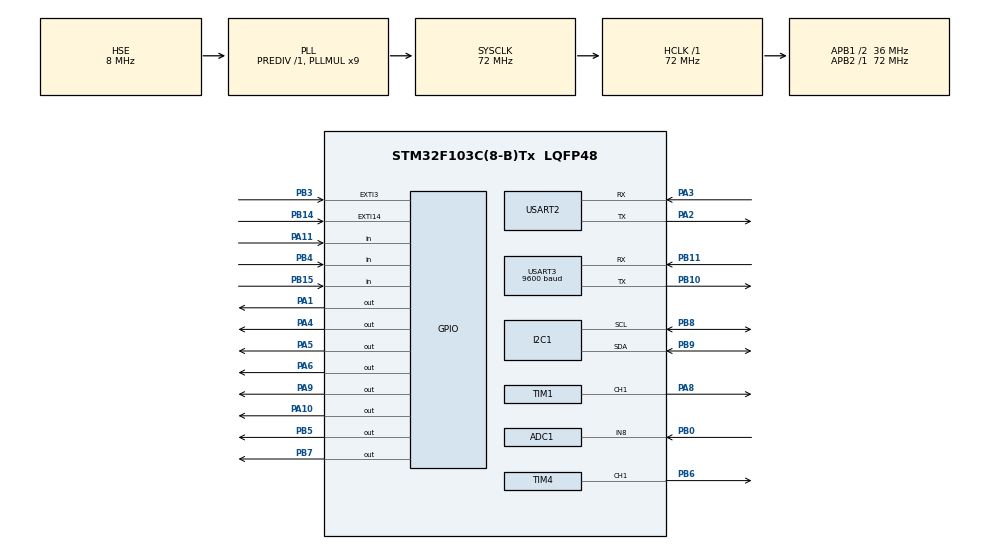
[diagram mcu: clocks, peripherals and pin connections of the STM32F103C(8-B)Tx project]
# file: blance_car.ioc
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ADC1.Channel-1\#ChannelInjectedConversion=ADC_CHANNEL_8
ADC1.EnableInjectedConversion=ENABLE
ADC1.EnableRegularConversion=DISABLE
ADC1.ExternalTrigInjecConv=ADC_EXTERNALTRIGINJECCONV_T2_TRGO
ADC1.InjNumberOfConversion=1
ADC1.InjectedConvMode=None
ADC1.InjectedOffset-1\#ChannelInjectedConversion=0
ADC1.InjectedRank-1\#ChannelInjectedConversion=1
ADC1.SamplingTime-1\#ChannelInjectedConversion=ADC_SAMPLETIME_7CYCLES_5
ADC1.master=1
I2C1.I2C_Mode=I2C_Fast
Mcu.Family=STM32F1
Mcu.Name=STM32F103C(8-B)Tx
Mcu.Package=LQFP48
NVIC.ADC1_2_IRQn=true\:2\:0\:true\:false\:true\:true\:true\:true
NVIC.EXTI15_10_IRQn=true\:0\:0\:true\:false\:true\:true\:true\:true
NVIC.EXTI3_IRQn=true\:0\:0\:true\:false\:true\:true\:true\:true
NVIC.PriorityGroup=NVIC_PRIORITYGROUP_4
NVIC.USART3_IRQn=true\:0\:0\:false\:false\:true\:true\:true\:true
PA1.Signal=GPIO_Output
PA10.Signal=GPIO_Output
PA11.GPIO_PuPd=GPIO_PULLUP
PA11.Signal=GPIO_Input
PA13.Mode=Serial_Wire
PA13.Signal=SYS_JTMS-SWDIO
PA14.Mode=Serial_Wire
PA14.Signal=SYS_JTCK-SWCLK
PA2.Mode=Asynchronous
PA2.Signal=USART2_TX
PA3.Mode=Asynchronous
PA3.Signal=USART2_RX
PA4.Signal=GPIO_Output
PA5.Signal=GPIO_Output
PA6.Signal=GPIO_Output
PA8.Signal=S_TIM1_CH1
PA9.Signal=GPIO_Output
PB0.Signal=ADCx_IN8
PB10.Mode=Asynchronous
PB10.Signal=USART3_TX
PB11.Mode=Asynchronous
PB11.Signal=USART3_RX
PB14.GPIO_ModeDefaultEXTI=GPIO_MODE_IT_RISING_FALLING
PB14.GPIO_PuPd=GPIO_PULLUP
PB14.Signal=GPXTI14
PB15.GPIO_PuPd=GPIO_PULLUP
PB15.Signal=GPIO_Input
PB3.GPIO_ModeDefaultEXTI=GPIO_MODE_IT_RISING_FALLING
PB3.GPIO_PuPd=GPIO_PULLUP
PB3.Signal=GPXTI3
PB4.GPIO_PuPd=GPIO_PULLUP
PB4.Signal=GPIO_Input
PB5.Signal=GPIO_Output
PB6.Signal=S_TIM4_CH1
PB7.Signal=GPIO_Output
PB8.Mode=I2C
PB8.Signal=I2C1_SCL
PB9.Mode=I2C
PB9.Signal=I2C1_SDA
PD0-OSC_IN.Mode=HSE-External-Oscillator
PD0-OSC_IN.Signal=RCC_OSC_IN
PD1-OSC_OUT.Mode=HSE-External-Oscillator
PD1-OSC_OUT.Signal=RCC_OSC_OUT
ProjectManager.HeapSize=0x200
ProjectManager.StackSize=0x400
ProjectManager.TargetToolchain=MDK-ARM V5.32
RCC.ADCPresc=RCC_ADCPCLK2_DIV6
RCC.AHBFreq_Value=72000000
RCC.APB1CLKDivider=RCC_HCLK_DIV2
RCC.APB1Freq_Value=36000000
RCC.APB1TimFreq_Value=72000000
RCC.APB2Freq_Value=72000000
RCC.APB2TimFreq_Value=72000000
RCC.HCLKFreq_Value=72000000
RCC.PLLMUL=RCC_PLL_MUL9
RCC.PLLSourceVirtual=RCC_PLLSOURCE_HSE
RCC.SYSCLKFreq_VALUE=72000000
RCC.SYSCLKSource=RCC_SYSCLKSOURCE_PLLCLK
RCC.USBFreq_Value=72000000
SH.ADCx_IN8.0=ADC1_IN8,IN8
SH.S_TIM1_CH1.0=TIM1_CH1,PWM Generation1 CH1
SH.S_TIM4_CH1.0=TIM4_CH1,PWM Generation1 CH1
TIM1.AutoReloadPreload=TIM_AUTORELOAD_PRELOAD_ENABLE
TIM1.AutomaticOutput=TIM_AUTOMATICOUTPUT_DISABLE
TIM1.BreakState=TIM_BREAK_DISABLE
TIM1.Channel-PWM\ Generation1\ CH1=TIM_CHANNEL_1
TIM1.OCFastMode_PWM-PWM\ Generation1\ CH1=TIM_OCFAST_ENABLE
TIM1.Period=999
TIM2.AutoReloadPreload=TIM_AUTORELOAD_PRELOAD_DISABLE
TIM2.Period=9999
TIM2.Prescaler=71
TIM2.TIM_MasterOutputTrigger=TIM_TRGO_UPDATE
TIM4.AutoReloadPreload=TIM_AUTORELOAD_PRELOAD_ENABLE
TIM4.Channel-PWM\ Generation1\ CH1=TIM_CHANNEL_1
TIM4.OCFastMode_PWM-PWM\ Generation1\ CH1=TIM_OCFAST_ENABLE
TIM4.Period=999
USART2.VirtualMode=VM_ASYNC
USART3.BaudRate=9600
USART3.Mode=MODE_RX
USART3.VirtualMode=VM_ASYNC
VP_TIM1_VS_ClockSourceINT.Mode=Internal
VP_TIM2_VS_ClockSourceINT.Mode=Internal
VP_TIM4_VS_ClockSourceINT.Mode=Internal
board=custom

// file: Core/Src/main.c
/* USER CODE BEGIN Header */
/**
  ******************************************************************************
  * @file           : main.c
  * @brief          : Main program body
  ******************************************************************************
  * @attention
  *
  * Copyright (c) 2026 STMicroelectronics.
  * All rights reserved.
  *
  * This software is licensed under terms that can be found in the LICENSE file
  * in the root directory of this software component.
  * If no LICENSE file comes with this software, it is provided AS-IS.
  *
  ******************************************************************************
  */
/* USER CODE END Header */
#include "main.h"
#include "adc.h"
#include "i2c.h"
#include "tim.h"
#include "usart.h"
#include "gpio.h"

/* USER CODE BEGIN Includes */
#include "stm32f1xx_hal.h"
#include <stdio.h>
#include <string.h>
#include "app_bat.h"
#include "app_button.h"
#include "app_pwm.h"
#include "app_mpu6500.h"
#include "app_encoder.h"
#include "app_motor.h"
#include "task.h"
#include "app_control.h"
#include "app_rc.h"
//#include "encoder_test.h"
//#include "PWM_test.h"
//#include "mpu6500_test.h"
//#include "qmath_test.h"
//#include "pid_motor_test.h"
/* USER CODE END Includes */

void SystemClock_Config(void);

int main(void)
{

  /* MCU Configuration--------------------------------------------------------*/

  /* Reset of all peripherals, Initializes the Flash interface and the Systick. */
  HAL_Init();

  /* Configure the system clock */
  SystemClock_Config();

  /* Initialize all configured peripherals */
  MX_GPIO_Init();
  MX_ADC1_Init();
  MX_TIM2_Init();
  MX_TIM1_Init();
  MX_TIM4_Init();
  MX_USART2_UART_Init();
  MX_I2C1_Init();
  MX_USART3_UART_Init();
  /* USER CODE BEGIN 2 */
  App_Bat_Start();
  App_Encoder_Init();
  App_MPU6500_Init();
  App_Motor_Init();
  App_Control_Init();
  App_RC_Init();
  // PWM_Test();
  // Encoder_Test();
  // Encoder_M_Test();
  // Encoder_T_Method_Test();
  // MPU6500_Test();
  // MPU6500_Euler_Test();
  // QMath_Test();
  // QMath_Tab_Speed_Test();
  /* USER CODE END 2 */

  /* Infinite loop */
  /* USER CODE BEGIN WHILE */
  while (1)
  {
   //电池按钮执行片段
		App_Button_Process();

    //MPU6500姿态角解算片段
    App_MPU6500_Process();

    //PID控制片段
    App_Control_Process();

    //电机调控片段
    App_Motor_Process();

    //遥控器处理片段
    App_RC_Process();

    /* USER CODE END WHILE */

  }
}

void SystemClock_Config(void)
{
  RCC_OscInitTypeDef RCC_OscInitStruct = {0};
  RCC_ClkInitTypeDef RCC_ClkInitStruct = {0};
  RCC_PeriphCLKInitTypeDef PeriphClkInit = {0};

  /** Initializes the RCC Oscillators according to the specified parameters
  * in the RCC_OscInitTypeDef structure.
  */
  RCC_OscInitStruct.OscillatorType = RCC_OSCILLATORTYPE_HSE;
  RCC_OscInitStruct.HSEState = RCC_HSE_ON;
  RCC_OscInitStruct.HSEPredivValue = RCC_HSE_PREDIV_DIV1;
  RCC_OscInitStruct.HSIState = RCC_HSI_ON;
  RCC_OscInitStruct.PLL.PLLState = RCC_PLL_ON;
  RCC_OscInitStruct.PLL.PLLSource = RCC_PLLSOURCE_HSE;
  RCC_OscInitStruct.PLL.PLLMUL = RCC_PLL_MUL9;
  if (HAL_RCC_OscConfig(&RCC_OscInitStruct) != HAL_OK)
  {
    Error_Handler();
  }

  /** Initializes the CPU, AHB and APB buses clocks
  */
  RCC_ClkInitStruct.ClockType = RCC_CLOCKTYPE_HCLK|RCC_CLOCKTYPE_SYSCLK
                              |RCC_CLOCKTYPE_PCLK1|RCC_CLOCKTYPE_PCLK2;
  RCC_ClkInitStruct.SYSCLKSource = RCC_SYSCLKSOURCE_PLLCLK;
  RCC_ClkInitStruct.AHBCLKDivider = RCC_SYSCLK_DIV1;
  RCC_ClkInitStruct.APB1CLKDivider = RCC_HCLK_DIV2;
  RCC_ClkInitStruct.APB2CLKDivider = RCC_HCLK_DIV1;

  if (HAL_RCC_ClockConfig(&RCC_ClkInitStruct, FLASH_LATENCY_2) != HAL_OK)
  {
    Error_Handler();
  }
  PeriphClkInit.PeriphClockSelection = RCC_PERIPHCLK_ADC;
  PeriphClkInit.AdcClockSelection = RCC_ADCPCLK2_DIV6;
  if (HAL_RCCEx_PeriphCLKConfig(&PeriphClkInit) != HAL_OK)
  {
    Error_Handler();
  }
}

void Error_Handler(void)
{
  __disable_irq();
  while (1)
  {
  }
}
